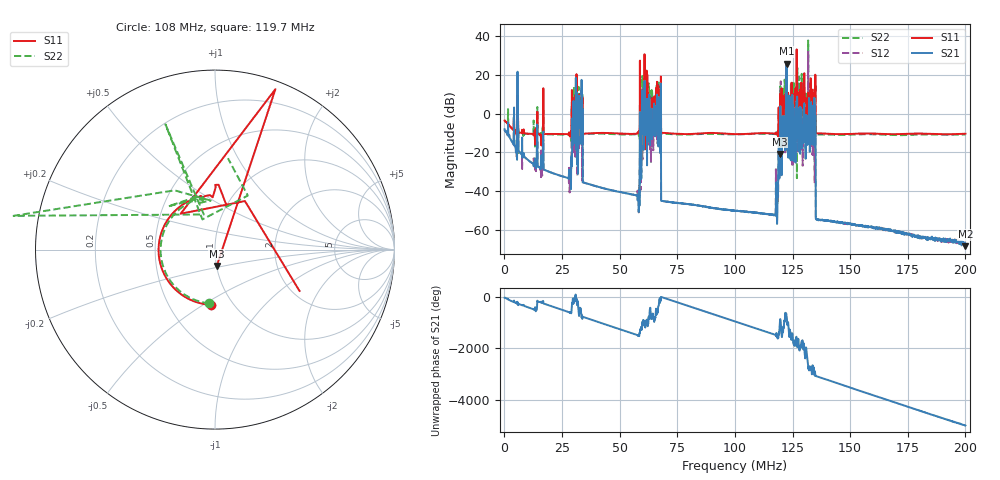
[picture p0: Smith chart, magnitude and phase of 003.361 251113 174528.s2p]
# HZ S DB R 50
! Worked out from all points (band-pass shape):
!   2000 points, 50 kHz to 200 MHz, reference 50 ohm
!   highest |S21| = 25.91 dB at 122.4 MHz (marker M1); lowest = -68.4 dB at 200 MHz (marker M2)
!   |S21| within 3 dB of the highest: 122.3731 MHz to 122.3889 MHz (15.85 kHz wide, 0.013 % of centre)
!   lowest |S11| = -20.7 dB at 119.5 MHz (marker M3), VSWR 1.20, Z = 50.1 - j9.24 ohm
!   |S11| at or under -10 dB: 70.35 MHz to 87.28 MHz (16.93 MHz wide, 21.5 % of centre); 92.33 MHz to 117.7 MHz (25.33 MHz wide, 24.1 % of centre); 135.1 MHz to end of sweep (the widest 3 of 28)
!   |S22| runs from -33.3 to 37.8 dB; largest |S21 - S12| = 40
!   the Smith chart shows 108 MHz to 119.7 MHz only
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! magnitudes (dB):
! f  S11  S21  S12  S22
! 50 kHz  -3.5  -8.0  -8.0  -3.5
! 26.86 MHz  -10.5  -33.0  -33.0  -10.8
! 28.26 MHz  -11.5  -33.0  -40.7  -10.3
! 30.36 MHz  3.8  -12.8  -7.8  5.5
! 32.86 MHz  7.9  -2.3  2.9  -1.3
! 33.46 MHz  -6.9  17.5  2.2  -6.3
! 34.96 MHz  -10.3  -35.8  -35.8  -10.5
! 57.56 MHz  -10.3  -42.2  -42.3  -10.6
! 60.67 MHz  8.5  -3.7  -3.8  6.2
! 66.77 MHz  3.7  -16.9  -13.8  3.8
! 68.97 MHz  -9.9  -45.1  -45.2  -10.3
! 100.1 MHz  -10.5  -50.1  -50.3  -10.7
! 116.7 MHz  -10.2  -52.4  -52.3  -10.5
! 117.8 MHz  -10.1  -46.7  -28.6  -9.0
! 119.5 MHz  -20.7  -18.7  -23.1  -5.8
! 120.7 MHz  9.6  -6.7  -2.2  2.5
! 122.4 MHz  25.0  25.9  -2.8  11.9
! 133.4 MHz  5.7  -5.6  1.6  -2.2
! 134 MHz  10.4  -5.5  -5.6  5.6
! 136.1 MHz  -10.1  -55.0  -54.6  -10.7
! 166.7 MHz  -10.6  -59.5  -59.8  -11.0
! 200 MHz  -10.4  -68.4  -67.3  -10.8
